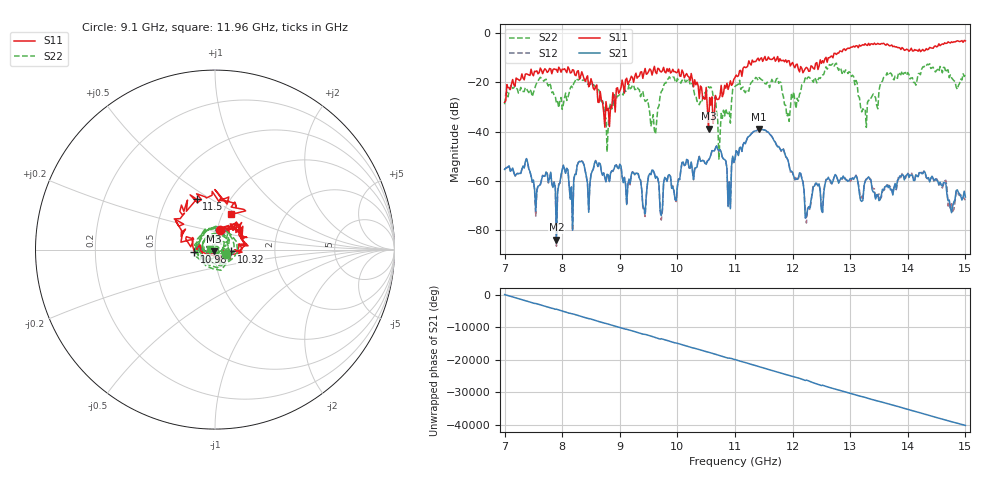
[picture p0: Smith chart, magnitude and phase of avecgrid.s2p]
!Keysight Technologies,N5242B,MY47200105,A.14.00.23
!Date: Friday, April 26, 2024 10:52:10
!Correction: S11(C  2-Port  )
!S21(C  2-Port  )
!S12(C  2-Port  )
!S22(C  2-Port  )
!S2P File: Measurement: :
# Hz S  RI  R 50
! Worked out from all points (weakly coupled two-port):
!   401 points, 7 GHz to 15 GHz, reference 50 ohm
!   highest |S21| = -39.08 dB at 11.42 GHz (marker M1); lowest = -83.8 dB at 7.9 GHz (marker M2)
!   lowest |S11| = -38.8 dB at 10.54 GHz (marker M3), VSWR 1.02, Z = 49.3 - j0.924 ohm
!   |S11| at or under -10 dB: start of sweep to 11.51 GHz; 11.59 GHz to 11.67 GHz (84.68 MHz wide, 0.728 % of centre); 11.74 GHz to 12.57 GHz (829.8 MHz wide, 6.82 % of centre) (the widest 3 of 7)
!   |S22| runs from -51.1 to -12.2 dB; largest |S21 - S12| = 0.00028
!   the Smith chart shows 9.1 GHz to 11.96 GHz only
!   S11 on the Smith chart (normalised r, x): 9.1 GHz: 1.04, +0.23; 10.32 GHz: 1.20, -0.02; 10.98 GHz: 0.79, -0.02; 11.5 GHz: 0.70, +0.43; 11.96 GHz: 1.10, +0.45
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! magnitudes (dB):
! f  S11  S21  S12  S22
! 7 GHz  -28.1  -55.2  -55.1  -28.8
! 7.9 GHz  -14.8  -83.8  -86.4  -28.5
! 8.34 GHz  -15.7  -51.9  -51.8  -19.0
! 8.78 GHz  -31.4  -57.2  -57.2  -48.2
! 9.1 GHz  -18.9  -61.2  -61.2  -23.7
! 9.58 GHz  -15.1  -55.7  -55.6  -33.1
! 9.68 GHz  -14.6  -61.4  -61.2  -29.5
! 9.9 GHz  -15.8  -62.9  -62.2  -18.2
! 10.32 GHz  -21.0  -54.6  -54.9  -25.2
! 10.54 GHz  -38.8  -51.5  -51.5  -21.8
! 10.74 GHz  -25.4  -47.2  -47.3  -42.1
! 10.9 GHz  -21.3  -60.4  -60.3  -31.7
! 10.98 GHz  -18.7  -52.4  -52.5  -22.1
! 11 GHz  -18.1  -51.1  -51.0  -21.6
! 11.42 GHz  -11.2  -39.1  -39.1  -18.0
! 11.5 GHz  -10.5  -39.3  -39.2  -19.4
! 11.96 GHz  -13.3  -55.9  -56.3  -30.7
! 12.34 GHz  -13.6  -65.4  -64.4  -19.2
! 12.96 GHz  -6.1  -60.1  -60.0  -16.4
! 13.24 GHz  -4.9  -61.9  -62.5  -31.2
! 13.68 GHz  -5.2  -61.8  -62.1  -16.5
! 15 GHz  -3.2  -66.5  -67.7  -17.1
